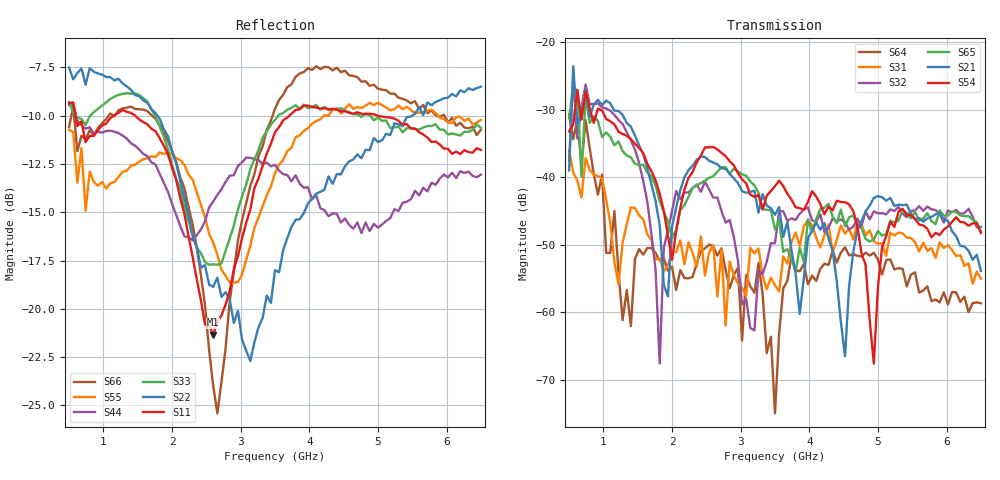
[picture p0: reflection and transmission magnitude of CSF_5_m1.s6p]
!Keysight Technologies,M9804A,MY58100912,A.14.10.03
!Date: Thursday, April 27, 2023 10:28:33
!Correction: S11(C  6-Port  )
!S12(C  6-Port  )
!S13(C  6-Port  )
!S14(C  6-Port  )
!S15(C  6-Port  )
!S16(C  6-Port  )
!S21(C  6-Port  )
!S22(C  6-Port  )
!S23(C  6-Port  )
!S24(C  6-Port  )
!S25(C  6-Port  )
!S26(C  6-Port  )
!S31(C  6-Port  )
!S32(C  6-Port  )
!S33(C  6-Port  )
!S34(C  6-Port  )
!S35(C  6-Port  )
!S36(C  6-Port  )
!S41(C  6-Port  )
!S42(C  6-Port  )
!S43(C  6-Port  )
!S44(C  6-Port  )
!S45(C  6-Port  )
!S46(C  6-Port  )
!S51(C  6-Port  )
!S52(C  6-Port  )
!S53(C  6-Port  )
!S54(C  6-Port  )
!S55(C  6-Port  )
!S56(C  6-Port  )
!S61(C  6-Port  )
!S62(C  6-Port  )
!S63(C  6-Port  )
!S64(C  6-Port  )
!S65(C  6-Port  )
!S66(C  6-Port  )
!S6P File: Measurement: :
# Hz S  RI  R 50
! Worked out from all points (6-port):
!   101 points, 500 MHz to 6.5 GHz, reference 50 ohm
!   strongest paths, dB at 500 MHz, 2 GHz, 3.5 GHz, 5 GHz, 6.5 GHz:
!     S54: -33.3, -52.2, -41.3, -56.4, -48.3
!     S21: -39.0, -47.2, -45.6, -42.8, -53.9
!     S65: -31.3, -49.0, -47.7, -48.0, -48.0
!     S32: -37.6, -45.0, -49.8, -45.4, -47.4
!     S31: -36.1, -51.1, -56.0, -49.8, -55.0
!     S64: -30.7, -53.3, -75.0, -52.2, -58.7
!   lowest |S11| = -21.3 dB at 2.6 GHz (marker M1), VSWR 1.19, Z = 42.4 + j2.29 ohm
!   |S11| at or under -10 dB: 593.6 MHz to 1.149 GHz (555.7 MHz wide, 63.8 % of centre); 1.463 GHz to 3.71 GHz (2.247 GHz wide, 86.9 % of centre); 4.99 GHz to end of sweep
